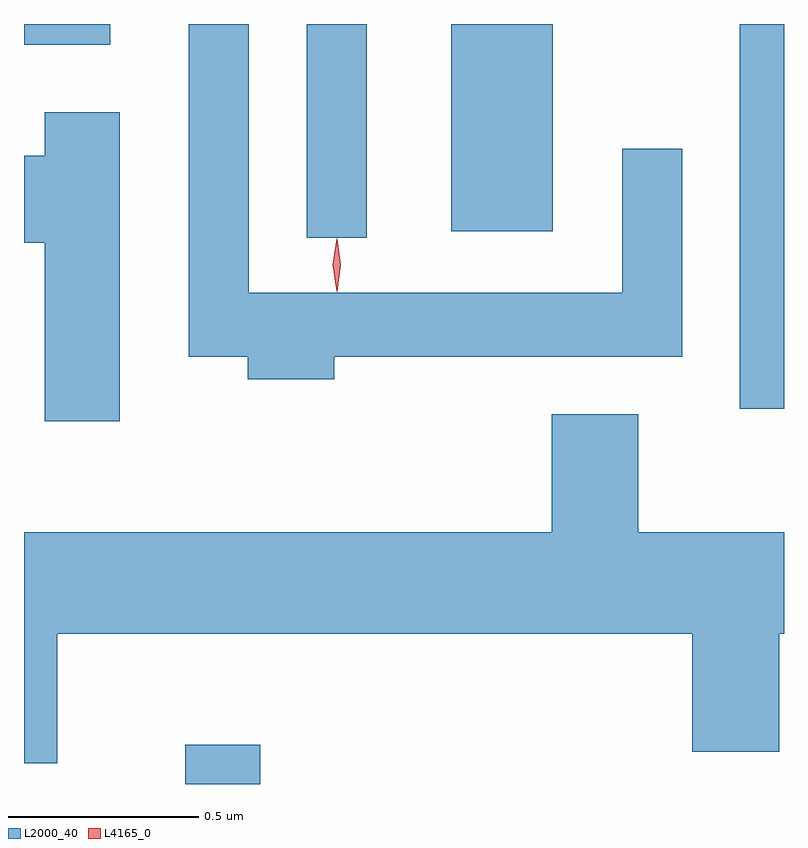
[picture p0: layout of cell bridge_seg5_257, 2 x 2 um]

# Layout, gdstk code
import gdstk
lib = gdstk.Library(unit=1e-6, precision=1e-09)
def R(c, l, rs):  # rectangles x0, y0, x1, y1
    for r in rs: c.add(gdstk.rectangle(r[:2], r[2:], *l))
def P(c, l, *ps):  # polygons
    for p in ps: c.add(gdstk.Polygon(p, *l))
L2000_40 = (2000, 40)
L4165_0 = (4165, 0)

bridge_seg5_257 = lib.new_cell('bridge_seg5_257')
R(bridge_seg5_257, L2000_40, [(1339.356,1431.981,1339.554,1432.084), (1340.816,1432.968,1340.932,1433.981), (1339.676,1433.418,1339.834,1433.981), (1340.056,1433.436,1340.324,1433.981), (1338.932,1433.926,1339.159,1433.981)])
P(bridge_seg5_257, L2000_40, [(1339.749,1433.106),(1340.664,1433.106),(1340.664,1433.653),(1340.506,1433.653),(1340.506,1433.274),(1339.524,1433.274),(1339.524,1433.981),(1339.366,1433.981),(1339.366,1433.106),(1339.521,1433.106),(1339.521,1433.046),(1339.749,1433.046)],
  [(1339.184,1433.749),(1338.986,1433.749),(1338.986,1433.634),(1338.932,1433.634),(1338.932,1433.406),(1338.986,1433.406),(1338.986,1432.936),(1339.184,1432.936)],
  [(1339.019,1432.376),(1340.691,1432.376),(1340.691,1432.066),(1340.919,1432.066),(1340.919,1432.376),(1340.932,1432.376),(1340.932,1432.644),(1340.549,1432.644),(1340.549,1432.954),(1340.321,1432.954),(1340.321,1432.644),(1338.932,1432.644),(1338.932,1432.036),(1339.019,1432.036)])
P(bridge_seg5_257, L4165_0, [(1339.755,1433.277),(1339.755,1433.277),(1339.745,1433.347),(1339.755,1433.416),(1339.755,1433.416),(1339.756,1433.416),(1339.765,1433.347),(1339.756,1433.277)],
  [(1339.755,1433.28),(1339.755,1433.28),(1339.745,1433.346),(1339.755,1433.412),(1339.755,1433.413),(1339.756,1433.412),(1339.765,1433.346),(1339.756,1433.28)])

lib.write_gds('bridge_seg5_257.gds')
